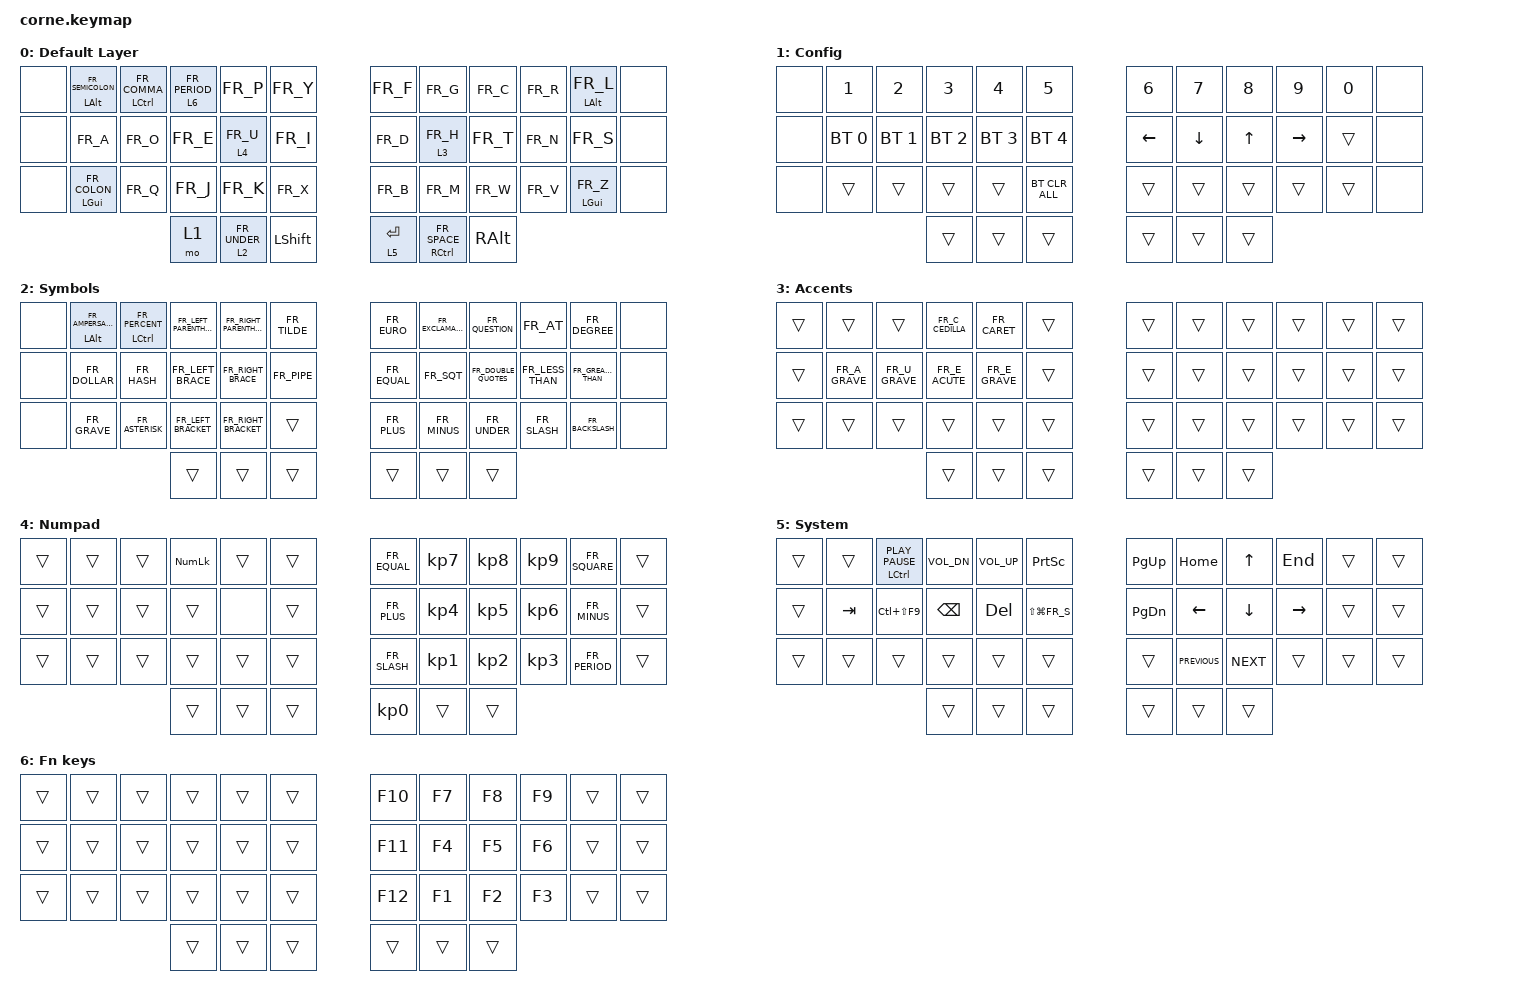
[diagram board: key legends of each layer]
/*
 * Copyright (c) 2020 The ZMK Contributors
 *
 * SPDX-License-Identifier: MIT
 */

#include <behaviors.dtsi>
#include <dt-bindings/zmk/bt.h>
#include <dt-bindings/zmk/keys.h>
#include "zmk-helpers/helper.h"
#include "keys_fr.h"

/ {
    behaviors {
        kp_tap_kp_hold: kp_tap_kp_hold {
            compatible = "zmk,behavior-hold-tap";
            label = "KP_TAP_KP_HOLD";
            bindings = <&kp>, <&kp>;

            #binding-cells = <2>;
            tapping-term-ms = <140>;
            flavor = "balanced";
        };

        kp_tap_mo_hold: kp_tap_mo_hold {
            compatible = "zmk,behavior-hold-tap";
            label = "KP_TAP_MO_HOLD";
            bindings = <&mo>, <&kp>;

            #binding-cells = <2>;
            tapping-term-ms = <140>;
        };
    };

    combos {
        compatible = "zmk,combos";

        Escape {
            bindings = <&kp ESCAPE>;
            key-positions = <15 14>;
            timeout-ms = <50>;
            layers = <0>;
        };
    };

    keymap {
        compatible = "zmk,keymap";

        default_layer {
            display-name = "Default Layer";

            // -----------------------------------------------------------------------------------------
            // |  TAB |  Q  |  W  |  E  |  R  |  T  |   |  Y  |  U   |  I  |  O  |  P  | BSPC |
            // | CTRL |  A  |  S  |  D  |  F  |  G  |   |  H  |  J   |  K  |  L  |  ;  |  '   |
            // | SHFT |  Z  |  X  |  C  |  V  |  B  |   |  N  |  M   |  ,  |  .  |  /  | ESC  |
            //                    | GUI | LWR | SPC |   | ENT | RSE  | ALT |

            bindings = <
&none  &kp_tap_kp_hold LEFT_ALT FR_SEMICOLON  &kp_tap_kp_hold LEFT_CONTROL FR_COMMA  &kp_tap_mo_hold 6 FR_PERIOD  &kp FR_P                    &kp FR_Y          &kp FR_F                 &kp FR_G                        &kp FR_C  &kp FR_R  &kp_tap_kp_hold LEFT_ALT FR_L  &none
&none  &kp FR_A                               &kp FR_O                               &kp FR_E                     &kp_tap_mo_hold 4 FR_U      &kp FR_I          &kp FR_D                 &kp_tap_mo_hold 3 FR_H          &kp FR_T  &kp FR_N  &kp FR_S                       &none
&none  &kp_tap_kp_hold LEFT_GUI FR_COLON      &kp FR_Q                               &kp FR_J                     &kp FR_K                    &kp FR_X          &kp FR_B                 &kp FR_M                        &kp FR_W  &kp FR_V  &kp_tap_kp_hold LEFT_GUI FR_Z  &none
                                                                                     &mo 1                        &kp_tap_mo_hold 2 FR_UNDER  &kp LEFT_SHIFT    &kp_tap_mo_hold 5 ENTER  &kp_tap_kp_hold RCTRL FR_SPACE  &kp RALT
            >;
        };

        config_layer {
            display-name = "Config";

            // -----------------------------------------------------------------------------------------
            // |  TAB |  1  |  2  |  3  |  4  |  5  |   |  6  |  7  |  8  |  9  |  0  | BSPC |
            // | BTCLR| BT1 | BT2 | BT3 | BT4 | BT5 |   | LFT | DWN |  UP | RGT |     |      |
            // | SHFT |     |     |     |     |     |   |     |     |     |     |     |      |
            //                    | GUI |     | SPC |   | ENT |     | ALT |

            bindings = <
&none  &kp N1        &kp N2        &kp N3        &kp N4        &kp N5            &kp N6    &kp N7    &kp N8  &kp N9     &kp N0  &none
&none  &bt BT_SEL 0  &bt BT_SEL 1  &bt BT_SEL 2  &bt BT_SEL 3  &bt BT_SEL 4      &kp LEFT  &kp DOWN  &kp UP  &kp RIGHT  &trans  &none
&none  &trans        &trans        &trans        &trans        &bt BT_CLR_ALL    &trans    &trans    &trans  &trans     &trans  &none
                                   &trans        &trans        &trans            &trans    &trans    &trans
            >;
        };

        symbols_layer {
            display-name = "Symbols";

            // -----------------------------------------------------------------------------------------
            // |  TAB |  !  |  @  |  #  |  $  |  %  |   |  ^  |  &  |  *  |  (  |  )  | BSPC |
            // | CTRL |     |     |     |     |     |   |  -  |  =  |  [  |  ]  |  \  |  `   |
            // | SHFT |     |     |     |     |     |   |  _  |  +  |  {  |  }  | "|" |  ~   |
            //                    | GUI |     | SPC |   | ENT |     | ALT |

            bindings = <
&none  &kp_tap_kp_hold LEFT_ALT FR_AMPERSAND  &kp_tap_kp_hold LEFT_CONTROL FR_PERCENT  &kp FR_LEFT_PARENTHESIS  &kp FR_RIGHT_PARENTHESIS  &kp FR_TILDE    &kp FR_EURO   &kp FR_EXCLAMATION  &kp FR_QUESTION       &kp FR_AT         &kp FR_DEGREE        &none
&none  &kp FR_DOLLAR                          &kp FR_HASH                              &kp FR_LEFT_BRACE        &kp FR_RIGHT_BRACE        &kp FR_PIPE     &kp FR_EQUAL  &kp FR_SQT          &kp FR_DOUBLE_QUOTES  &kp FR_LESS_THAN  &kp FR_GREATER_THAN  &none
&none  &kp FR_GRAVE                           &kp FR_ASTERISK                          &kp FR_LEFT_BRACKET      &kp FR_RIGHT_BRACKET      &trans          &kp FR_PLUS   &kp FR_MINUS        &kp FR_UNDER          &kp FR_SLASH      &kp FR_BACKSLASH     &none
                                                                                       &trans                   &trans                    &trans          &trans        &trans              &trans
            >;
        };

        accents_layer {
            display-name = "Accents";
            bindings = <
&trans  &trans          &trans          &kp FR_C_CEDILLA  &kp FR_CARET    &trans    &trans  &trans  &trans  &trans  &trans  &trans
&trans  &kp FR_A_GRAVE  &kp FR_U_GRAVE  &kp FR_E_ACUTE    &kp FR_E_GRAVE  &trans    &trans  &trans  &trans  &trans  &trans  &trans
&trans  &trans          &trans          &trans            &trans          &trans    &trans  &trans  &trans  &trans  &trans  &trans
                                        &trans            &trans          &trans    &trans  &trans  &trans
            >;
        };

        numpad_layer {
            bindings = <
&trans  &trans  &trans  &kp KP_NUMLOCK  &trans  &trans    &kp FR_EQUAL     &kp KP_NUMBER_7  &kp KP_NUMBER_8  &kp KP_NUMBER_9  &kp FR_SQUARE  &trans
&trans  &trans  &trans  &trans          &none   &trans    &kp FR_PLUS      &kp KP_NUMBER_4  &kp KP_NUMBER_5  &kp KP_NUMBER_6  &kp FR_MINUS   &trans
&trans  &trans  &trans  &trans          &trans  &trans    &kp FR_SLASH     &kp KP_NUMBER_1  &kp KP_NUMBER_2  &kp KP_NUMBER_3  &kp FR_PERIOD  &trans
                        &trans          &trans  &trans    &kp KP_NUMBER_0  &trans           &trans
            >;

            label = "Numpad";
        };

        system_layer {
            bindings = <
&trans  &trans   &kp_tap_kp_hold LEFT_CONTROL K_PLAY_PAUSE  &kp C_VOL_DN   &kp C_VOL_UP  &kp PRINTSCREEN     &kp PAGE_UP    &kp HOME        &kp UP_ARROW    &kp END          &trans  &trans
&trans  &kp TAB  &kp LC(LS(F9))                             &kp BACKSPACE  &kp DELETE    &kp LS(LG(FR_S))    &kp PAGE_DOWN  &kp LEFT_ARROW  &kp DOWN_ARROW  &kp RIGHT_ARROW  &trans  &trans
&trans  &trans   &trans                                     &trans         &trans        &trans              &trans         &kp K_PREVIOUS  &kp K_NEXT      &trans           &trans  &trans
                                                            &trans         &trans        &trans              &trans         &trans          &trans
            >;

            label = "System";
        };

        fn_layout {
            bindings = <
&trans  &trans  &trans  &trans  &trans  &trans    &kp F10  &kp F7  &kp F8  &kp F9  &trans  &trans
&trans  &trans  &trans  &trans  &trans  &trans    &kp F11  &kp F4  &kp F5  &kp F6  &trans  &trans
&trans  &trans  &trans  &trans  &trans  &trans    &kp F12  &kp F1  &kp F2  &kp F3  &trans  &trans
                        &trans  &trans  &trans    &trans   &trans  &trans
            >;

            label = "Fn keys";
        };
    };
};
